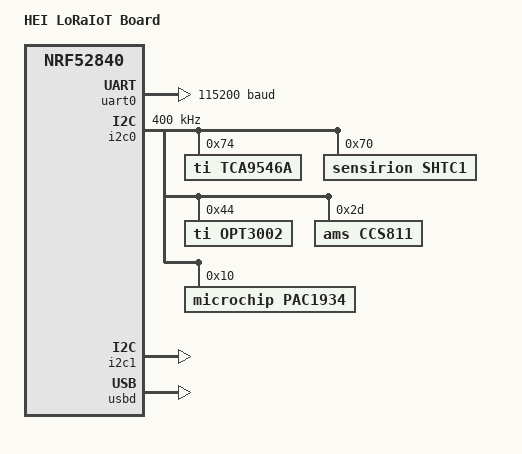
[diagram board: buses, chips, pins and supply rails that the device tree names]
/*
 * Copyright (c) 2017 Linaro Limited
 *
 * SPDX-License-Identifier: Apache-2.0
 */

/dts-v1/;
#include <nordic/nrf52840.dtsi>

/ {
	model = "HEI LoRaIoT Board";
	compatible = "nordic,pca10056-dk", "nordic,nrf52840-qiaa",
		     "nordic,nrf52840";

	chosen {
		zephyr,uart-pipe = &uart0;
#ifdef CONFIG_MCUMGR_SMP_UART
		zephyr,uart-mcumgr = &uart0;
#endif
		zephyr,sram = &sram0;
		zephyr,flash = &flash0;
	};
};

&uart0 {
	compatible = "nordic,nrf-uart";
	current-speed = <115200>;
	status = "ok";
};

&i2c0 {
	status = "ok";
	clock-frequency = <I2C_BITRATE_FAST>;
    
    tca9546a: tca9546a@74 {
        compatible = "ti,tca9546a";
        reg = <0x74>;
        label = "TCA9546A";
    };
    
    shtc1: shtc1@70 {
        compatible = "sensirion,shtc1";
        reg = <0x70>;
        label = "SHTC1";
    };
    
    opt3002: opt3002@44 {
        compatible = "ti,opt3002";
        reg = <0x44>;
        label = "OPT3002";
    };
    
    ccs811: ccs811@2d {
        compatible = "ams,ccs811";
        reg = <0x2d>;
        label = "CCS811";
    };
    
    pac1934: pac1934@10 {
        compatible = "microchip,pac1934";
        reg = <0x10>;
        label = "PAC1934";
    };
    
};

&i2c1 {
	status = "ok";
};

&flash0 {
	/*
	 * For more information, see:
	 * http://docs.zephyrproject.org/devices/dts/flash_partitions.html
	 */
	partitions {
		compatible = "fixed-partitions";
		#address-cells = <1>;
		#size-cells = <1>;

		boot_partition: partition@0 {
			label = "mcuboot";
			reg = <0x000000000 0x0000C000>;
		};
		slot0_partition: partition@c000 {
			label = "image-0";
			reg = <0x0000C000 0x000069000>;
		};
		slot1_partition: partition@75000 {
			label = "image-1";
			reg = <0x00075000 0x000069000>;
		};
		scratch_partition: partition@de000 {
			label = "image-scratch";
			reg = <0x000de000 0x0001e000>;
		};

#if defined(CONFIG_FS_FLASH_STORAGE_PARTITION)
		storage_partition: partition@fc000 {
			label = "storage";
			reg = <0x000fc000 0x00004000>;
		};
#endif
	};
};

&usbd {
	compatible = "nordic,nrf-usbd";
	status = "ok";
};
